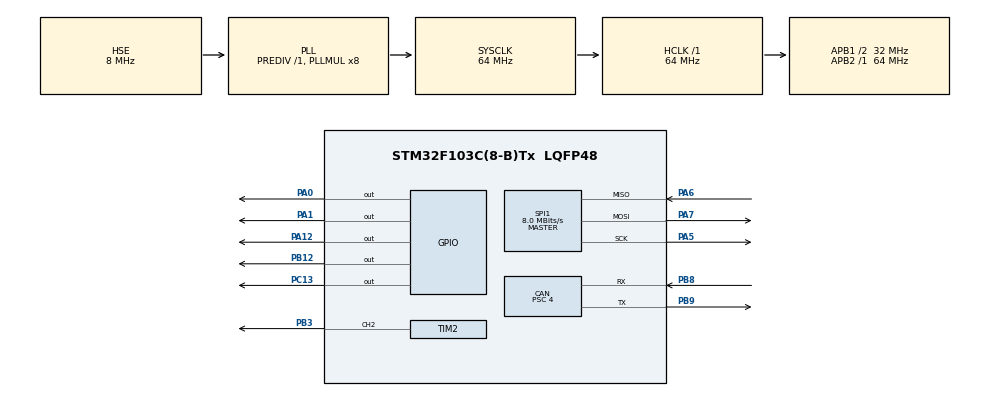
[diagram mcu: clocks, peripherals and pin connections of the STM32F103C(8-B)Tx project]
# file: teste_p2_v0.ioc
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CAN.BS1=CAN_BS1_12TQ
CAN.BS2=CAN_BS2_3TQ
CAN.CalculateBaudRate=500000
CAN.CalculateTimeBit=2000
CAN.CalculateTimeQuantum=125.0
CAN.NART=ENABLE
CAN.Prescaler=4
CAN.SJW=CAN_SJW_1TQ
Mcu.Family=STM32F1
Mcu.Name=STM32F103C(8-B)Tx
Mcu.Package=LQFP48
NVIC.PriorityGroup=NVIC_PRIORITYGROUP_4
NVIC.USB_LP_CAN1_RX0_IRQn=true\:0\:0\:false\:false\:true\:true\:true\:true
PA0-WKUP.Signal=GPIO_Output
PA1.Signal=GPIO_Output
PA12.PinState=GPIO_PIN_SET
PA12.Signal=GPIO_Output
PA13.Mode=Serial_Wire
PA13.Signal=SYS_JTMS-SWDIO
PA14.Mode=Serial_Wire
PA14.Signal=SYS_JTCK-SWCLK
PA5.Mode=Full_Duplex_Master
PA5.Signal=SPI1_SCK
PA6.GPIO_PuPd=GPIO_PULLUP
PA6.Mode=Full_Duplex_Master
PA6.Signal=SPI1_MISO
PA7.Mode=Full_Duplex_Master
PA7.Signal=SPI1_MOSI
PB12.PinState=GPIO_PIN_SET
PB12.Signal=GPIO_Output
PB3.Signal=S_TIM2_CH2
PB8.GPIO_PuPd=GPIO_PULLUP
PB8.Mode=CAN_Activate
PB8.Signal=CAN_RX
PB9.Mode=CAN_Activate
PB9.Signal=CAN_TX
PC13-TAMPER-RTC.Signal=GPIO_Output
PD0-OSC_IN.Mode=HSE-External-Oscillator
PD0-OSC_IN.Signal=RCC_OSC_IN
PD1-OSC_OUT.Mode=HSE-External-Oscillator
PD1-OSC_OUT.Signal=RCC_OSC_OUT
ProjectManager.HeapSize=0x200
ProjectManager.StackSize=0x400
ProjectManager.TargetToolchain=STM32CubeIDE
RCC.AHBFreq_Value=64000000
RCC.APB1CLKDivider=RCC_HCLK_DIV2
RCC.APB1Freq_Value=32000000
RCC.APB1TimFreq_Value=64000000
RCC.APB2Freq_Value=64000000
RCC.APB2TimFreq_Value=64000000
RCC.HCLKFreq_Value=64000000
RCC.PLLMUL=RCC_PLL_MUL8
RCC.PLLSourceVirtual=RCC_PLLSOURCE_HSE
RCC.SYSCLKFreq_VALUE=64000000
RCC.SYSCLKSource=RCC_SYSCLKSOURCE_PLLCLK
RCC.USBFreq_Value=64000000
SH.S_TIM2_CH2.0=TIM2_CH2,PWM Generation2 CH2
SPI1.BaudRatePrescaler=SPI_BAUDRATEPRESCALER_8
SPI1.CLKPhase=SPI_PHASE_1EDGE
SPI1.CalculateBaudRate=8.0 MBits/s
SPI1.Direction=SPI_DIRECTION_2LINES
SPI1.Mode=SPI_MODE_MASTER
SPI1.VirtualType=VM_MASTER
TIM2.Channel-PWM\ Generation2\ CH2=TIM_CHANNEL_2
TIM2.Period=999
TIM2.Prescaler=63
TIM2.Pulse-PWM\ Generation2\ CH2=500
VP_TIM2_VS_ClockSourceINT.Mode=Internal
board=custom

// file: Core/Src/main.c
/* USER CODE BEGIN Header */
/**
  ******************************************************************************
  * @file           : main.c
  * @brief          : Main program body
  ******************************************************************************
  * @attention
  *
  * Copyright (c) 2026 STMicroelectronics.
  * All rights reserved.
  *
  * This software is licensed under terms that can be found in the LICENSE file
  * in the root directory of this software component.
  * If no LICENSE file comes with this software, it is provided AS-IS.
  *
  ******************************************************************************
  */
/* USER CODE END Header */
#include "main.h"

/* USER CODE BEGIN Includes */
#include "rc522_module_header.h"
#include "main_functions.h"
/* USER CODE END Includes */

CAN_HandleTypeDef hcan;

SPI_HandleTypeDef hspi1;

TIM_HandleTypeDef htim2;

/* USER CODE BEGIN PV */
extern volatile uint8_t uid_response_flag;
/* USER CODE END PV */

void SystemClock_Config(void);
static void MX_GPIO_Init(void);
static void MX_CAN_Init(void);
static void MX_SPI1_Init(void);
static void MX_TIM2_Init(void);

/* USER CODE BEGIN 0 */

volatile uint8_t rfid_version;
uint8_t rfid_status;
uint8_t card_type[2];
uint8_t card_uid[5];

/* USER CODE END 0 */

int main(void)
{

  /* MCU Configuration--------------------------------------------------------*/

  /* Reset of all peripherals, Initializes the Flash interface and the Systick. */
  HAL_Init();

  /* Configure the system clock */
  SystemClock_Config();

  /* Initialize all configured peripherals */
  MX_GPIO_Init();
  MX_CAN_Init();
  MX_SPI1_Init();
  MX_TIM2_Init();
  /* USER CODE BEGIN 2 */
  CAN_Init();
  MFRC522_Init();
  rfid_version = MFRC522_ReadRegister(VersionReg);
  MFRC522_AntennaON();

  uint32_t last_keepalivetick = 0;
  uint8_t reader_status_byte = 0x00;
  /* USER CODE END 2 */

  /* Infinite loop */
  /* USER CODE BEGIN WHILE */
  while (1)
  {
	 Reader_Manage_KeepAlive();
	 Reader_RFID();

	 if(uid_response_flag != 0){
		 Reader_Feedback(uid_response_flag);
	 }
  }

    /* USER CODE END WHILE */

}

void SystemClock_Config(void)
{
  RCC_OscInitTypeDef RCC_OscInitStruct = {0};
  RCC_ClkInitTypeDef RCC_ClkInitStruct = {0};

  /** Initializes the RCC Oscillators according to the specified parameters
  * in the RCC_OscInitTypeDef structure.
  */
  RCC_OscInitStruct.OscillatorType = RCC_OSCILLATORTYPE_HSE;
  RCC_OscInitStruct.HSEState = RCC_HSE_ON;
  RCC_OscInitStruct.HSEPredivValue = RCC_HSE_PREDIV_DIV1;
  RCC_OscInitStruct.HSIState = RCC_HSI_ON;
  RCC_OscInitStruct.PLL.PLLState = RCC_PLL_ON;
  RCC_OscInitStruct.PLL.PLLSource = RCC_PLLSOURCE_HSE;
  RCC_OscInitStruct.PLL.PLLMUL = RCC_PLL_MUL8;
  if (HAL_RCC_OscConfig(&RCC_OscInitStruct) != HAL_OK)
  {
    Error_Handler();
  }

  /** Initializes the CPU, AHB and APB buses clocks
  */
  RCC_ClkInitStruct.ClockType = RCC_CLOCKTYPE_HCLK|RCC_CLOCKTYPE_SYSCLK
                              |RCC_CLOCKTYPE_PCLK1|RCC_CLOCKTYPE_PCLK2;
  RCC_ClkInitStruct.SYSCLKSource = RCC_SYSCLKSOURCE_PLLCLK;
  RCC_ClkInitStruct.AHBCLKDivider = RCC_SYSCLK_DIV1;
  RCC_ClkInitStruct.APB1CLKDivider = RCC_HCLK_DIV2;
  RCC_ClkInitStruct.APB2CLKDivider = RCC_HCLK_DIV1;

  if (HAL_RCC_ClockConfig(&RCC_ClkInitStruct, FLASH_LATENCY_2) != HAL_OK)
  {
    Error_Handler();
  }
}

static void MX_CAN_Init(void)
{

  hcan.Instance = CAN1;
  hcan.Init.Prescaler = 4;
  hcan.Init.Mode = CAN_MODE_NORMAL;
  hcan.Init.SyncJumpWidth = CAN_SJW_1TQ;
  hcan.Init.TimeSeg1 = CAN_BS1_12TQ;
  hcan.Init.TimeSeg2 = CAN_BS2_3TQ;
  hcan.Init.TimeTriggeredMode = DISABLE;
  hcan.Init.AutoBusOff = DISABLE;
  hcan.Init.AutoWakeUp = DISABLE;
  hcan.Init.AutoRetransmission = ENABLE;
  hcan.Init.ReceiveFifoLocked = DISABLE;
  hcan.Init.TransmitFifoPriority = DISABLE;
  if (HAL_CAN_Init(&hcan) != HAL_OK)
  {
    Error_Handler();
  }

}

static void MX_SPI1_Init(void)
{

  /* SPI1 parameter configuration*/
  hspi1.Instance = SPI1;
  hspi1.Init.Mode = SPI_MODE_MASTER;
  hspi1.Init.Direction = SPI_DIRECTION_2LINES;
  hspi1.Init.DataSize = SPI_DATASIZE_8BIT;
  hspi1.Init.CLKPolarity = SPI_POLARITY_LOW;
  hspi1.Init.CLKPhase = SPI_PHASE_1EDGE;
  hspi1.Init.NSS = SPI_NSS_SOFT;
  hspi1.Init.BaudRatePrescaler = SPI_BAUDRATEPRESCALER_8;
  hspi1.Init.FirstBit = SPI_FIRSTBIT_MSB;
  hspi1.Init.TIMode = SPI_TIMODE_DISABLE;
  hspi1.Init.CRCCalculation = SPI_CRCCALCULATION_DISABLE;
  hspi1.Init.CRCPolynomial = 10;
  if (HAL_SPI_Init(&hspi1) != HAL_OK)
  {
    Error_Handler();
  }

}

static void MX_TIM2_Init(void)
{

  TIM_ClockConfigTypeDef sClockSourceConfig = {0};
  TIM_MasterConfigTypeDef sMasterConfig = {0};
  TIM_OC_InitTypeDef sConfigOC = {0};

  htim2.Instance = TIM2;
  htim2.Init.Prescaler = 63;
  htim2.Init.CounterMode = TIM_COUNTERMODE_UP;
  htim2.Init.Period = 999;
  htim2.Init.ClockDivision = TIM_CLOCKDIVISION_DIV1;
  htim2.Init.AutoReloadPreload = TIM_AUTORELOAD_PRELOAD_DISABLE;
  if (HAL_TIM_Base_Init(&htim2) != HAL_OK)
  {
    Error_Handler();
  }
  sClockSourceConfig.ClockSource = TIM_CLOCKSOURCE_INTERNAL;
  if (HAL_TIM_ConfigClockSource(&htim2, &sClockSourceConfig) != HAL_OK)
  {
    Error_Handler();
  }
  if (HAL_TIM_PWM_Init(&htim2) != HAL_OK)
  {
    Error_Handler();
  }
  sMasterConfig.MasterOutputTrigger = TIM_TRGO_RESET;
  sMasterConfig.MasterSlaveMode = TIM_MASTERSLAVEMODE_DISABLE;
  if (HAL_TIMEx_MasterConfigSynchronization(&htim2, &sMasterConfig) != HAL_OK)
  {
    Error_Handler();
  }
  sConfigOC.OCMode = TIM_OCMODE_PWM1;
  sConfigOC.Pulse = 500;
  sConfigOC.OCPolarity = TIM_OCPOLARITY_HIGH;
  sConfigOC.OCFastMode = TIM_OCFAST_DISABLE;
  if (HAL_TIM_PWM_ConfigChannel(&htim2, &sConfigOC, TIM_CHANNEL_2) != HAL_OK)
  {
    Error_Handler();
  }
  HAL_TIM_MspPostInit(&htim2);

}

static void MX_GPIO_Init(void)
{
  GPIO_InitTypeDef GPIO_InitStruct = {0};

  /* GPIO Ports Clock Enable */
  __HAL_RCC_GPIOC_CLK_ENABLE();
  __HAL_RCC_GPIOD_CLK_ENABLE();
  __HAL_RCC_GPIOA_CLK_ENABLE();
  __HAL_RCC_GPIOB_CLK_ENABLE();

  /*Configure GPIO pin Output Level */
  HAL_GPIO_WritePin(GPIOC, GPIO_PIN_13, GPIO_PIN_RESET);

  /*Configure GPIO pin Output Level */
  HAL_GPIO_WritePin(GPIOA, GPIO_PIN_0|GPIO_PIN_1, GPIO_PIN_RESET);

  /*Configure GPIO pin Output Level */
  HAL_GPIO_WritePin(GPIOB, GPIO_PIN_12, GPIO_PIN_SET);

  /*Configure GPIO pin Output Level */
  HAL_GPIO_WritePin(GPIOA, GPIO_PIN_12, GPIO_PIN_SET);

  /*Configure GPIO pin : PC13 */
  GPIO_InitStruct.Pin = GPIO_PIN_13;
  GPIO_InitStruct.Mode = GPIO_MODE_OUTPUT_PP;
  GPIO_InitStruct.Pull = GPIO_NOPULL;
  GPIO_InitStruct.Speed = GPIO_SPEED_FREQ_LOW;
  HAL_GPIO_Init(GPIOC, &GPIO_InitStruct);

  /*Configure GPIO pins : PA0 PA1 PA12 */
  GPIO_InitStruct.Pin = GPIO_PIN_0|GPIO_PIN_1|GPIO_PIN_12;
  GPIO_InitStruct.Mode = GPIO_MODE_OUTPUT_PP;
  GPIO_InitStruct.Pull = GPIO_NOPULL;
  GPIO_InitStruct.Speed = GPIO_SPEED_FREQ_LOW;
  HAL_GPIO_Init(GPIOA, &GPIO_InitStruct);

  /*Configure GPIO pin : PB12 */
  GPIO_InitStruct.Pin = GPIO_PIN_12;
  GPIO_InitStruct.Mode = GPIO_MODE_OUTPUT_PP;
  GPIO_InitStruct.Pull = GPIO_NOPULL;
  GPIO_InitStruct.Speed = GPIO_SPEED_FREQ_LOW;
  HAL_GPIO_Init(GPIOB, &GPIO_InitStruct);

}

void Error_Handler(void)
{
  __disable_irq();
  while (1)
  {
  }
}
